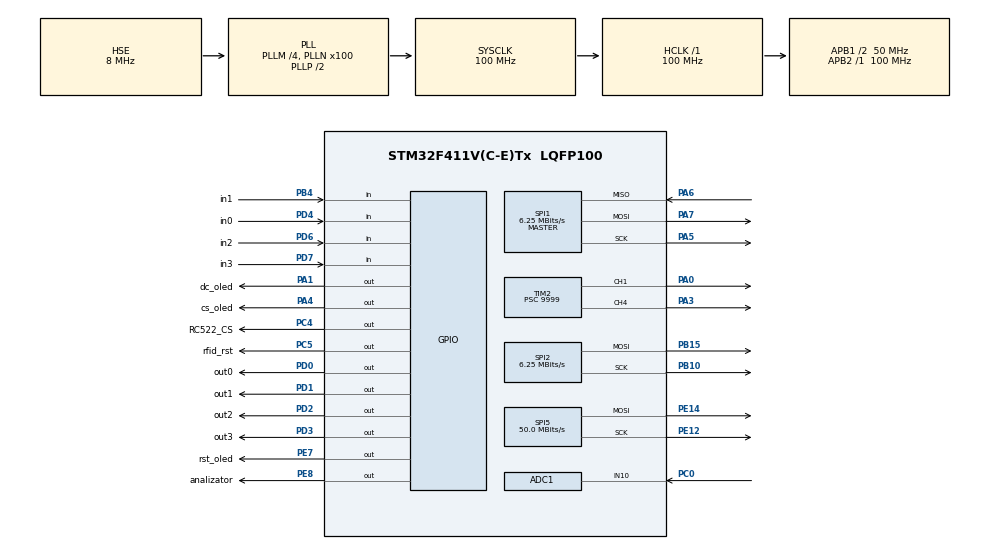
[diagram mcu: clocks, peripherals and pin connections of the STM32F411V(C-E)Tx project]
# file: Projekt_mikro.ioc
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ADC1.Channel-0\#ChannelRegularConversion=ADC_CHANNEL_10
ADC1.ContinuousConvMode=DISABLE
ADC1.DMAContinuousRequests=ENABLE
ADC1.DataAlign=ADC_DATAALIGN_RIGHT
ADC1.ExternalTrigConv=ADC_EXTERNALTRIGCONV_T3_TRGO
ADC1.NbrOfConversion=1
ADC1.NbrOfConversionFlag=1
ADC1.Rank-0\#ChannelRegularConversion=1
ADC1.SamplingTime-0\#ChannelRegularConversion=ADC_SAMPLETIME_3CYCLES
ADC1.master=1
Dma.ADC1.3.Direction=DMA_PERIPH_TO_MEMORY
Dma.ADC1.3.FIFOMode=DMA_FIFOMODE_DISABLE
Dma.ADC1.3.Instance=DMA2_Stream0
Dma.ADC1.3.MemDataAlignment=DMA_MDATAALIGN_HALFWORD
Dma.ADC1.3.MemInc=DMA_MINC_ENABLE
Dma.ADC1.3.Mode=DMA_NORMAL
Dma.ADC1.3.PeriphDataAlignment=DMA_PDATAALIGN_HALFWORD
Dma.ADC1.3.PeriphInc=DMA_PINC_DISABLE
Dma.ADC1.3.Priority=DMA_PRIORITY_LOW
Dma.Request0=SPI2_TX
Dma.Request1=TIM2_CH1
Dma.Request2=TIM2_CH2/CH4
Dma.Request3=ADC1
Dma.SPI2_TX.0.Direction=DMA_MEMORY_TO_PERIPH
Dma.SPI2_TX.0.FIFOMode=DMA_FIFOMODE_DISABLE
Dma.SPI2_TX.0.Instance=DMA1_Stream4
Dma.SPI2_TX.0.MemDataAlignment=DMA_MDATAALIGN_BYTE
Dma.SPI2_TX.0.MemInc=DMA_MINC_ENABLE
Dma.SPI2_TX.0.Mode=DMA_CIRCULAR
Dma.SPI2_TX.0.PeriphDataAlignment=DMA_PDATAALIGN_BYTE
Dma.SPI2_TX.0.PeriphInc=DMA_PINC_DISABLE
Dma.SPI2_TX.0.Priority=DMA_PRIORITY_VERY_HIGH
Dma.TIM2_CH1.1.Direction=DMA_MEMORY_TO_PERIPH
Dma.TIM2_CH1.1.FIFOMode=DMA_FIFOMODE_DISABLE
Dma.TIM2_CH1.1.Instance=DMA1_Stream5
Dma.TIM2_CH1.1.MemDataAlignment=DMA_MDATAALIGN_WORD
Dma.TIM2_CH1.1.MemInc=DMA_MINC_ENABLE
Dma.TIM2_CH1.1.Mode=DMA_CIRCULAR
Dma.TIM2_CH1.1.PeriphDataAlignment=DMA_PDATAALIGN_WORD
Dma.TIM2_CH1.1.PeriphInc=DMA_PINC_DISABLE
Dma.TIM2_CH1.1.Priority=DMA_PRIORITY_LOW
Dma.TIM2_CH2/CH4.2.Direction=DMA_MEMORY_TO_PERIPH
Dma.TIM2_CH2/CH4.2.FIFOMode=DMA_FIFOMODE_DISABLE
Dma.TIM2_CH2/CH4.2.Instance=DMA1_Stream6
Dma.TIM2_CH2/CH4.2.MemDataAlignment=DMA_MDATAALIGN_WORD
Dma.TIM2_CH2/CH4.2.MemInc=DMA_MINC_ENABLE
Dma.TIM2_CH2/CH4.2.Mode=DMA_CIRCULAR
Dma.TIM2_CH2/CH4.2.PeriphDataAlignment=DMA_PDATAALIGN_WORD
Dma.TIM2_CH2/CH4.2.PeriphInc=DMA_PINC_DISABLE
Dma.TIM2_CH2/CH4.2.Priority=DMA_PRIORITY_LOW
Mcu.Family=STM32F4
Mcu.Name=STM32F411V(C-E)Tx
Mcu.Package=LQFP100
NVIC.ADC_IRQn=true\:0\:0\:false\:false\:true\:true\:true
NVIC.DMA1_Stream4_IRQn=true\:0\:0\:false\:true\:true\:1\:false\:true
NVIC.DMA1_Stream5_IRQn=true\:0\:0\:false\:false\:true\:false\:true
NVIC.DMA1_Stream6_IRQn=true\:0\:0\:false\:false\:true\:false\:true
NVIC.DMA2_Stream0_IRQn=true\:0\:0\:false\:false\:true\:false\:true
NVIC.PriorityGroup=NVIC_PRIORITYGROUP_4
NVIC.SPI2_IRQn=true\:0\:0\:false\:true\:true\:2\:true\:true
NVIC.SPI5_IRQn=true\:0\:0\:false\:true\:true\:3\:true\:true
NVIC.TIM2_IRQn=true\:0\:0\:false\:true\:true\:4\:true\:true
PA0-WKUP.Signal=S_TIM2_CH1_ETR
PA1.GPIO_Label=dc_oled
PA1.GPIO_Speed=GPIO_SPEED_FREQ_VERY_HIGH
PA1.Signal=GPIO_Output
PA3.Signal=S_TIM2_CH4
PA4.GPIO_Label=cs_oled
PA4.GPIO_Speed=GPIO_SPEED_FREQ_VERY_HIGH
PA4.Signal=GPIO_Output
PA5.Mode=Full_Duplex_Master
PA5.Signal=SPI1_SCK
PA6.Mode=Full_Duplex_Master
PA6.Signal=SPI1_MISO
PA7.Mode=Full_Duplex_Master
PA7.Signal=SPI1_MOSI
PB10.Mode=TX_Only_Simplex_Unidirect_Master
PB10.Signal=SPI2_SCK
PB15.Mode=TX_Only_Simplex_Unidirect_Master
PB15.Signal=SPI2_MOSI
PB4.GPIO_Label=in1
PB4.GPIO_PuPd=GPIO_PULLDOWN
PB4.Signal=GPIO_Input
PC0.Signal=ADCx_IN10
PC4.GPIO_Label=RC522_CS
PC4.GPIO_Speed=GPIO_SPEED_FREQ_VERY_HIGH
PC4.Signal=GPIO_Output
PC5.GPIO_Label=rfid_rst
PC5.GPIO_Speed=GPIO_SPEED_FREQ_VERY_HIGH
PC5.PinState=GPIO_PIN_SET
PC5.Signal=GPIO_Output
PD0.GPIO_Label=out0
PD0.GPIO_Speed=GPIO_SPEED_FREQ_VERY_HIGH
PD0.Signal=GPIO_Output
PD1.GPIO_Label=out1
PD1.GPIO_Speed=GPIO_SPEED_FREQ_VERY_HIGH
PD1.Signal=GPIO_Output
PD2.GPIO_Label=out2
PD2.GPIO_Speed=GPIO_SPEED_FREQ_VERY_HIGH
PD2.Signal=GPIO_Output
PD3.GPIO_Label=out3
PD3.GPIO_Speed=GPIO_SPEED_FREQ_VERY_HIGH
PD3.Signal=GPIO_Output
PD4.GPIO_Label=in0
PD4.Signal=GPIO_Input
PD6.GPIO_Label=in2
PD6.GPIO_PuPd=GPIO_PULLDOWN
PD6.Signal=GPIO_Input
PD7.GPIO_Label=in3
PD7.GPIO_PuPd=GPIO_PULLDOWN
PD7.Signal=GPIO_Input
PE12.Mode=TX_Only_Simplex_Unidirect_Master
PE12.Signal=SPI5_SCK
PE14.Mode=TX_Only_Simplex_Unidirect_Master
PE14.Signal=SPI5_MOSI
PE7.GPIO_Label=rst_oled
PE7.GPIO_Speed=GPIO_SPEED_FREQ_VERY_HIGH
PE7.PinState=GPIO_PIN_SET
PE7.Signal=GPIO_Output
PE8.GPIO_Label=analizator
PE8.GPIO_Speed=GPIO_SPEED_FREQ_VERY_HIGH
PE8.Signal=GPIO_Output
PH0\ -\ OSC_IN.Mode=HSE-External-Oscillator
PH0\ -\ OSC_IN.Signal=RCC_OSC_IN
PH1\ -\ OSC_OUT.Mode=HSE-External-Oscillator
PH1\ -\ OSC_OUT.Signal=RCC_OSC_OUT
ProjectManager.HeapSize=0x1000
ProjectManager.StackSize=0x1000
ProjectManager.TargetToolchain=STM32CubeIDE
RCC.48MHZClocksFreq_Value=50000000
RCC.AHBFreq_Value=100000000
RCC.APB1CLKDivider=RCC_HCLK_DIV2
RCC.APB1Freq_Value=50000000
RCC.APB1TimFreq_Value=100000000
RCC.APB2Freq_Value=100000000
RCC.APB2TimFreq_Value=100000000
RCC.CortexFreq_Value=100000000
RCC.HCLKFreq_Value=100000000
RCC.HSE_VALUE=8000000
RCC.HSI_VALUE=16000000
RCC.LSE_VALUE=32768
RCC.PLLM=4
RCC.PLLN=100
RCC.PLLSourceVirtual=RCC_PLLSOURCE_HSE
RCC.SYSCLKFreq_VALUE=100000000
RCC.SYSCLKSource=RCC_SYSCLKSOURCE_PLLCLK
RCC.VCOOutputFreq_Value=200000000
SH.ADCx_IN10.0=ADC1_IN10,IN10
SH.S_TIM2_CH1_ETR.0=TIM2_CH1,PWM Generation1 CH1
SH.S_TIM2_CH4.0=TIM2_CH4,PWM Generation4 CH4
SPI1.BaudRatePrescaler=SPI_BAUDRATEPRESCALER_16
SPI1.CalculateBaudRate=6.25 MBits/s
SPI1.Direction=SPI_DIRECTION_2LINES
SPI1.Mode=SPI_MODE_MASTER
SPI1.VirtualType=VM_MASTER
SPI2.BaudRatePrescaler=SPI_BAUDRATEPRESCALER_8
SPI2.CalculateBaudRate=6.25 MBits/s
SPI2.Direction=SPI_DIRECTION_2LINES
SPI2.Mode=SPI_MODE_MASTER
SPI2.VirtualType=VM_MASTER
SPI5.BaudRatePrescaler=SPI_BAUDRATEPRESCALER_2
SPI5.CalculateBaudRate=50.0 MBits/s
SPI5.Direction=SPI_DIRECTION_2LINES
SPI5.Mode=SPI_MODE_MASTER
SPI5.VirtualType=VM_MASTER
TIM2.Channel-PWM\ Generation1\ CH1=TIM_CHANNEL_1
TIM2.Channel-PWM\ Generation4\ CH4=TIM_CHANNEL_4
TIM2.Period=255
TIM2.Prescaler=9999
TIM3.Period=19
TIM3.Prescaler=99
TIM3.TIM_MasterOutputTrigger=TIM_TRGO_UPDATE
TIM3.TIM_MasterSlaveMode=TIM_MASTERSLAVEMODE_DISABLE
VP_TIM2_VS_ClockSourceINT.Mode=Internal
VP_TIM3_VS_ClockSourceINT.Mode=Internal
board=custom

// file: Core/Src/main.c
/* USER CODE BEGIN Header */
/**
  ******************************************************************************
  * @file           : main.c
  * @brief          : Main program body
  ******************************************************************************
  * @attention
  *
  * <h2><center>&copy; Copyright (c) 2021 STMicroelectronics.
  * All rights reserved.</center></h2>
  *
  * This software component is licensed by ST under BSD 3-Clause license,
  * the "License"; You may not use this file except in compliance with the
  * License. You may obtain a copy of the License at:
  *                        opensource.org/licenses/BSD-3-Clause
  *
  ******************************************************************************
  */
/* USER CODE END Header */
#include "main.h"
#include "adc.h"
#include "dma.h"
#include "spi.h"
#include "tim.h"
#include "gpio.h"

/* USER CODE BEGIN Includes */
#include"keypad.h"
#include"MFRC522.h"
#include "ws2812b.h"
#include "ssd1331.h"
#include "stdio.h"
#include "GFX_Color.h"
#include "fonts/fonts.h"
#include "Lepsze.h"
#include "GFX_Lepsze.h"
#include "string.h"
#include "arm_math.h"
#include "stdlib.h"
/* USER CODE END Includes */

/* USER CODE BEGIN PV */
char keypad[4][4]={
		{'1','2','3','A'},
		{'4','5','6','B'},
		{'7','8','9','C'},
		{'*','0','#','D'}
};
uint32_t keypad_password_cnt=0;
keypad_t key;
volatile uint8_t UID[5];
char a;
typedef enum
{
	lock_keypad_ok=0,
	lock_ok,
	lock_idle,
	lock_error
}lock;
lock lock_state=lock_idle;
char password[]={'1','3','4','2','A'};
uint8_t RFID_password[]={170,96,10,120,184};
char keypad_password[5];
uint8_t Number_of_attemps=2;
uint16_t delay=10;
char oled_data[20];
uint32_t led_data[256];
uint16_t fft_samples[1024];
float fft_out_buffer[1024];
float fft_in_buffer[1024];
uint32_t fft_cnt=0;
uint16_t adc;
arm_rfft_fast_instance_f32 FFT;
uint8_t fft_is_ready=0;
uint8_t oled_fft[102];

/* USER CODE END PV */

void SystemClock_Config(void);
static void MX_NVIC_Init(void);
/* USER CODE BEGIN PFP */
int8_t check_password(char* password,char* password_to_chech);
void lock_idle_task();
void lock_error_task();
void lock_keypad_ok_task();
void lock_ok_task();
void CalculateFFT();
float complexABS(float real, float compl);
/* USER CODE END PFP */

int main(void)
{

  /* MCU Configuration--------------------------------------------------------*/

  /* Reset of all peripherals, Initializes the Flash interface and the Systick. */
  HAL_Init();

  /* Configure the system clock */
  SystemClock_Config();

  /* Initialize all configured peripherals */
  MX_GPIO_Init();
  MX_DMA_Init();
  MX_SPI2_Init();
  MX_SPI1_Init();
  MX_SPI5_Init();
  MX_TIM2_Init();
  MX_ADC1_Init();
  MX_TIM3_Init();

  /* Initialize interrupts */
  MX_NVIC_Init();
  /* USER CODE BEGIN 2 */

  MFRC522_Init();

  WS2812B_Init(&hspi2);

  for(int i=0;i<255;i++)
  {
	  led_data[i]=gamma8(sine8(i));
  }
  HAL_TIM_PWM_Start_DMA(&htim2, TIM_CHANNEL_4, led_data, 256);
  WS2812B_SetDiodeRGB(0, 0, gamma8(40), 0);
  WS2812B_SetDiodeRGB(1, 0, gamma8(40), 0);
  WS2812B_SetDiodeRGB(2, 0, gamma8(40), 0);
  WS2812B_SetDiodeRGB(11, 0, gamma8(40), 0);
  WS2812B_SetDiodeRGB(10, 0, gamma8(40), 0);
  ssd1331_init(&hspi5);
  for(int i=0;i<64;i++)
  {
	  for(int j=0;j<96;j++)
	  {
		  setPixel(j, i, RGB(gamma8(255-(i*4)),gamma8(0+(i*4)),0));
	  }
  }

  buffer_to_template();
  ssd1331_clear();
  GFX_SetFont(font_8x5);
  EF_SetFont(&timesNewRoman_14ptFontInfo);
  EF_PutString((uint8_t*)"password:",sizeof("password:"), 0, 0, GREEN, 0, BLACK);
  GFX_DrawString(0, 19, "*****", GREEN);
  ssd1331_display(0);

  WS2812B_Refresh();
  keypad_init( &key, (char*)keypad);
  uint32_t time=0;
  arm_rfft_fast_init_f32(&FFT, 1024);
  /* USER CODE END 2 */

  /* Infinite loop */
  /* USER CODE BEGIN WHILE */

  while (1)
  {

	  if(HAL_GetTick()-time>delay)
	  {
		  switch(lock_state)
		  {
		  case lock_idle:
		  {
			  lock_idle_task();
			  break;
		  }
		  case lock_error:
		  {
			  lock_error_task();
			  break;
		  }
		  case lock_keypad_ok:
		  {
			  lock_keypad_ok_task();
			  break;
		  }
		  case lock_ok:
		  {
			  lock_ok_task();
			  break;
		  }
		  }
		  time=HAL_GetTick();
	  }
    /* USER CODE END WHILE */

  }
}

void SystemClock_Config(void)
{
  RCC_OscInitTypeDef RCC_OscInitStruct = {0};
  RCC_ClkInitTypeDef RCC_ClkInitStruct = {0};

  /** Configure the main internal regulator output voltage
  */
  __HAL_RCC_PWR_CLK_ENABLE();
  __HAL_PWR_VOLTAGESCALING_CONFIG(PWR_REGULATOR_VOLTAGE_SCALE1);
  /** Initializes the RCC Oscillators according to the specified parameters
  * in the RCC_OscInitTypeDef structure.
  */
  RCC_OscInitStruct.OscillatorType = RCC_OSCILLATORTYPE_HSE;
  RCC_OscInitStruct.HSEState = RCC_HSE_ON;
  RCC_OscInitStruct.PLL.PLLState = RCC_PLL_ON;
  RCC_OscInitStruct.PLL.PLLSource = RCC_PLLSOURCE_HSE;
  RCC_OscInitStruct.PLL.PLLM = 4;
  RCC_OscInitStruct.PLL.PLLN = 100;
  RCC_OscInitStruct.PLL.PLLP = RCC_PLLP_DIV2;
  RCC_OscInitStruct.PLL.PLLQ = 4;
  if (HAL_RCC_OscConfig(&RCC_OscInitStruct) != HAL_OK)
  {
    Error_Handler();
  }
  /** Initializes the CPU, AHB and APB buses clocks
  */
  RCC_ClkInitStruct.ClockType = RCC_CLOCKTYPE_HCLK|RCC_CLOCKTYPE_SYSCLK
                              |RCC_CLOCKTYPE_PCLK1|RCC_CLOCKTYPE_PCLK2;
  RCC_ClkInitStruct.SYSCLKSource = RCC_SYSCLKSOURCE_PLLCLK;
  RCC_ClkInitStruct.AHBCLKDivider = RCC_SYSCLK_DIV1;
  RCC_ClkInitStruct.APB1CLKDivider = RCC_HCLK_DIV2;
  RCC_ClkInitStruct.APB2CLKDivider = RCC_HCLK_DIV1;

  if (HAL_RCC_ClockConfig(&RCC_ClkInitStruct, FLASH_LATENCY_3) != HAL_OK)
  {
    Error_Handler();
  }
}

/**
  * @brief NVIC Configuration.
  * @retval None
  */
static void MX_NVIC_Init(void)
{
  /* DMA1_Stream4_IRQn interrupt configuration */
  HAL_NVIC_SetPriority(DMA1_Stream4_IRQn, 0, 0);
  HAL_NVIC_EnableIRQ(DMA1_Stream4_IRQn);
  /* SPI2_IRQn interrupt configuration */
  HAL_NVIC_SetPriority(SPI2_IRQn, 0, 0);
  HAL_NVIC_EnableIRQ(SPI2_IRQn);
  /* SPI5_IRQn interrupt configuration */
  HAL_NVIC_SetPriority(SPI5_IRQn, 0, 0);
  HAL_NVIC_EnableIRQ(SPI5_IRQn);
  /* TIM2_IRQn interrupt configuration */
  HAL_NVIC_SetPriority(TIM2_IRQn, 0, 0);
  HAL_NVIC_EnableIRQ(TIM2_IRQn);
}

/* USER CODE BEGIN 4 */
int8_t check_password(char* password,char* password_to_check)
{
	int8_t pass=1;
	for(int i=0;i<5;i++)
	{
		if(*password!=*password_to_check)
		{
			pass--;
			break;
		}
		password++;
		password_to_check++;
	}
	return pass;
}
void lock_idle_task()
{
	keypad_task(&key);
	uint8_t check_keypad=0;
	if(key.flag==1)
	 {
		keypad_password[keypad_password_cnt]= keypad_getKey(&key);
		keypad_password_cnt++;
		if(Number_of_attemps==2)
		{
			GFX_DrawString(45, 19, (char*)keypad_password, GREEN);
			ssd1331_display(0);
		}
		else if(Number_of_attemps==1)
		{
			GFX_DrawString(45, 29, (char*)keypad_password, GREEN);
			ssd1331_display(0);
		}
	 }
	if(keypad_password_cnt==5)
	{
		check_keypad=check_password((char*)password, (char*)keypad_password);
		if(!check_keypad)
		{
			Number_of_attemps--;
			if(Number_of_attemps==1)
			{
				  WS2812B_SetDiodeRGB(0, 0, gamma8(40), 0);
				  WS2812B_SetDiodeRGB(1, 0, gamma8(40), 0);
				  WS2812B_SetDiodeRGB(2, 0, 0, 0);
				  WS2812B_SetDiodeRGB(11, 0, gamma8(40), 0);
				  WS2812B_SetDiodeRGB(10, 0, 0, 0);
				  WS2812B_Refresh();
				  keypad_password_cnt=0;
				  GFX_DrawString(0, 19, "*****", RED);
				  GFX_DrawString(0, 29, "*****", GREEN);
				  GFX_DrawString(45, 19, (char*)keypad_password, RED);
				  for(int i=0;i<5;i++)
				  {
					  keypad_password[i]=0;
				  }
				  ssd1331_display(0);
			}
			else
			{
				delay=150;
				lock_state=lock_error;
				GFX_DrawString(0, 29, "*****", RED);
				GFX_DrawString(45, 29, (char*)keypad_password, RED);
				EF_PutString((uint8_t*)"ERROR!!", sizeof("ERROR!!"), 0, 49, RED, 0, BLACK);
				EF_PutString((uint8_t*)"password:",sizeof("password:"), 0, 0, RED, 0, BLACK);
				ssd1331_display(0);
				TIM2->PSC=999;
			}
		}
		else
		{
			WS2812B_SetDiodeRGB(9, 0, gamma8(40), 0);
			WS2812B_SetDiodeRGB(10, 0, gamma8(40), 0);
			WS2812B_SetDiodeRGB(3, 0, gamma8(40), 0);
			WS2812B_SetDiodeRGB(2, 0, gamma8(40), 0);
			WS2812B_Refresh();
			if(Number_of_attemps==2)
			{
				GFX_DrawString(0, 19, "*****", BLACK);
				GFX_DrawString(0, 19, (char*)password, GREEN);
			}
			else if(Number_of_attemps==1)
			{
				GFX_DrawString(0, 29, "*****", BLACK);
				GFX_DrawString(0, 29, (char*)password, GREEN);
			}
			for(int i=0;i<10;i++)
			{
				if(!(i%2))
				{
					if(Number_of_attemps==2)
					{
						GFX_DrawString(45, 19, (char*)keypad_password, BLACK);
					}
					else if(Number_of_attemps==1)
					{
						GFX_DrawString(45, 29, (char*)keypad_password, BLACK);
					}
				}
				else
				{
					if(Number_of_attemps==2)
					{
						GFX_DrawString(45, 19, (char*)keypad_password, GREEN);
					}
					else if(Number_of_attemps==1)
					{
						GFX_DrawString(45, 29, (char*)keypad_password, GREEN);
					}
				}
				ssd1331_display(0);
				HAL_Delay(100);
			}
			lock_state=lock_keypad_ok;
		}
	}
}
void lock_error_task()
{
	keypad_password_cnt++;
	if(keypad_password_cnt%2)
	{
		WS2812B_SetDiodeRGB(9, gamma8(40), 0, 0);
		WS2812B_SetDiodeRGB(10, gamma8(40), 0, 0);
		WS2812B_SetDiodeRGB(11, gamma8(40), 0, 0);
		WS2812B_SetDiodeRGB(0, gamma8(40), 0, 0);
		WS2812B_SetDiodeRGB(1, gamma8(40), 0, 0);
		WS2812B_SetDiodeRGB(2, gamma8(40), 0, 0);
		WS2812B_SetDiodeRGB(3, gamma8(40), 0, 0);
		WS2812B_SetDiodeRGB(4, 0, 0, 0);
		WS2812B_SetDiodeRGB(5, 0, 0, 0);
		WS2812B_SetDiodeRGB(6, 0, 0, 0);
		WS2812B_SetDiodeRGB(7, 0, 0, 0);
		WS2812B_SetDiodeRGB(8, 0, 0, 0);
		WS2812B_Refresh();
	}
	else
	{
		WS2812B_SetDiodeRGB(4, gamma8(40), 0, 0);
		WS2812B_SetDiodeRGB(5, gamma8(40), 0, 0);
		WS2812B_SetDiodeRGB(6, gamma8(40), 0, 0);
		WS2812B_SetDiodeRGB(7, gamma8(40), 0, 0);
		WS2812B_SetDiodeRGB(8, gamma8(40), 0, 0);
		WS2812B_SetDiodeRGB(9, gamma8(40), 0, 0);
		WS2812B_SetDiodeRGB(3, gamma8(40), 0, 0);
		WS2812B_SetDiodeRGB(2, 0, 0, 0);
		WS2812B_SetDiodeRGB(1, 0, 0, 0);
		WS2812B_SetDiodeRGB(0, 0, 0, 0);
		WS2812B_SetDiodeRGB(11, 0, 0, 0);
		WS2812B_SetDiodeRGB(10, 0, 0, 0);
		WS2812B_Refresh();
	}
}
void lock_keypad_ok_task()
{
	uint8_t check_rfid=0;
	u_char status, cardstr[MAX_LEN+1];
	status = MFRC522_Request(PICC_REQIDL, cardstr);
	if(Number_of_attemps==2)
	{
		EF_PutString((uint8_t*)"rfid:",sizeof("rfid:"), 0, 27, GREEN, 0, BLACK);
		GFX_DrawString(0, 43, "*****", GREEN);
		ssd1331_display(0);
	}
	else if(Number_of_attemps)
	{
		EF_PutString((uint8_t*)"rfid:",sizeof("rfid:"), 0, 37, GREEN, 0, BLACK);
		GFX_DrawString(0, 53, "*****", GREEN);
		ssd1331_display(0);
	}
	if(status == MI_OK)
	{
		status = MFRC522_Anticoll(cardstr);
		if(status==MI_OK)
		{
			UID[0] = cardstr[0];
			UID[1] = cardstr[1];
			UID[2] = cardstr[2];
			UID[3] = cardstr[3];
			UID[4] = cardstr[4];
			check_rfid=check_password((char *)RFID_password, (char*)UID);
			if(!check_rfid)
			{
				delay=150;
				lock_state=lock_error;
				ssd1331_clear();
				EF_PutString((uint8_t*)"rfid:",sizeof("rfid:"), 0, 0, RED, 0, BLACK);
				sprintf(oled_data,"%x %x %x %x %x",UID[0],UID[1],UID[2],UID[3],UID[4]);
				GFX_DrawString(0, 20, oled_data, RED);
				EF_PutString((uint8_t*)"ERROR!!",sizeof("ERROR!!"), 0, 30, RED, 0, BLACK);
				ssd1331_display(0);
				TIM2->PSC=999;
			}
			else
			{
				if(Number_of_attemps==2)
				{
					GFX_DrawString(0, 43, "*****", BLACK);
					sprintf(oled_data,"%x %x %x %x %x",RFID_password[0],RFID_password[1],RFID_password[2],RFID_password[3],RFID_password[4]);
					GFX_DrawString(0, 43, oled_data, GREEN);

				}
				else if(Number_of_attemps==1)
				{
					GFX_DrawString(0, 53, "*****", BLACK);
					sprintf(oled_data,"%x %x %x %x %x",RFID_password[0],RFID_password[1],RFID_password[2],RFID_password[3],RFID_password[4]);
					GFX_DrawString(0, 53, oled_data, GREEN);
				}
				HAL_TIM_PWM_Stop_DMA(&htim2, TIM_CHANNEL_4);
				TIM2->CCR4=0;
				HAL_TIM_PWM_Start_DMA(&htim2, TIM_CHANNEL_1, led_data, 256);
				for(int i=0;i<10;i++)
				{
					if(!(i%2))
					{
						if(Number_of_attemps==2)
						{
							GFX_DrawString(0, 43, oled_data, BLACK);
						}
						else if(Number_of_attemps==1)
						{
							GFX_DrawString(0, 53, oled_data, BLACK);
						}
					}
					else
					{
						if(Number_of_attemps==2)
						{
							GFX_DrawString(0, 43, oled_data, GREEN);
						}
						else if(Number_of_attemps==1)
						{
							GFX_DrawString(0, 53, oled_data, GREEN);
						}
					}
					HAL_Delay(100);
					ssd1331_display(0);
				}
				delay=25;
				HAL_ADC_Start_DMA(&hadc1, (uint32_t*)fft_samples, 1024);
				HAL_TIM_Base_Start(&htim3);
				lock_state=lock_ok;
			}
		}
	}

}
void lock_ok_task()
{
	ws2812_clear();
	keypad_password_cnt++;
	WS2812B_SetDiodeRGB(keypad_password_cnt%12, 0, gamma8(100), 0);
	WS2812B_SetDiodeRGB((keypad_password_cnt+6)%12, 0, gamma8(100), 0);
	WS2812B_Refresh();
	if(fft_is_ready==1)
	{
		for(int i=0;i<1024;i++)
		{
			fft_in_buffer[i]=(float)fft_samples[i];
		}
		fft_is_ready=0;
		CalculateFFT();
		temlate_to_buffer();
	    analizator_GPIO_Port->ODR |= analizator_Pin;
		for(int i=0;i<96;i++)
		{
			int a=63-oled_fft[i];
			GFX_WriteLine(i, 0, i, a, BLACK);
		}
	    analizator_GPIO_Port->ODR ^=analizator_Pin ;
		ssd1331_display(0);
		HAL_ADC_Start_DMA(&hadc1, (uint32_t*)fft_samples, 1024);
	}

}
void HAL_ADC_ConvCpltCallback(ADC_HandleTypeDef* hadc)
{
		fft_cnt++;
		fft_is_ready=1;
		int a=rand();
}
float complexABS(float real, float compl)
{
	return sqrtf(real*real+compl*compl);
}

void CalculateFFT(void)
{
	arm_rfft_fast_f32(&FFT, fft_in_buffer, fft_out_buffer, 0);

	int Freqs[512];
	int FreqPoint = 0;
	int Offset = 45; // variable noise floor offset

		// calculate abs values and linear-to-dB
	for (int i = 0; i < 1024; i = i+2)
	{
		Freqs[FreqPoint] = (int)(20*log10f(complexABS(fft_in_buffer[i], fft_in_buffer[i+1]))) - Offset;

		if(Freqs[FreqPoint] < 0)
		{
			Freqs[FreqPoint] = 0;
		}
		FreqPoint++;
	}

	for(int i=0;i<512;i+=5)
	{
		oled_fft[i/5]=Freqs[i];
	}
}

/* USER CODE END 4 */

void Error_Handler(void)
{
  __disable_irq();
  while (1)
  {
  }
}

/************************ (C) COPYRIGHT STMicroelectronics *****END OF FILE****/
